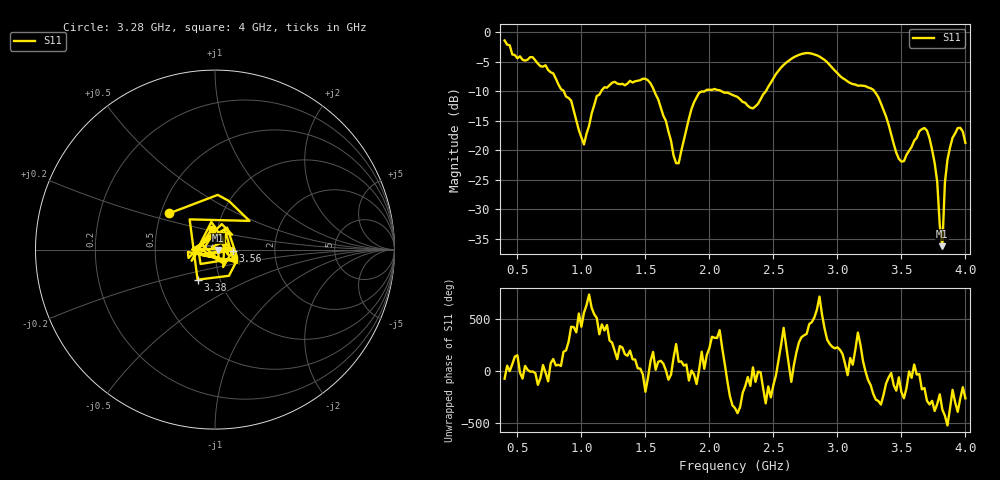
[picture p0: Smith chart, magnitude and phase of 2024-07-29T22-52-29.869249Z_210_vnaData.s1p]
!Created with skrf (http://scikit-rf.org).
# Hz S RI R 50.0
!freq ReS11 ImS11
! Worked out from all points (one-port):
!   181 points, 400 MHz to 4 GHz, reference 50 ohm
!   lowest |S11| = -36.2 dB at 3.82 GHz (marker M1), VSWR 1.03, Z = 51.6 - j0.229 ohm
!   |S11| at or under -10 dB: 1.57 GHz to 1.962 GHz (391.4 MHz wide, 22.2 % of centre); 2.096 GHz to 2.441 GHz (344.7 MHz wide, 15.2 % of centre); 3.289 GHz to end of sweep (the widest 3 of 4)
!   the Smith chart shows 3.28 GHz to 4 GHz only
!   S11 on the Smith chart (normalised r, x): 3.28 GHz: 0.55, +0.25; 3.38 GHz: 0.78, -0.27; 3.56 GHz: 1.22, -0.01; 4 GHz: 0.94, +0.22
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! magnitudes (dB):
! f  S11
! 400 MHz  -1.4
! 720 MHz  -5.6
! 860 MHz  -9.9
! 920 MHz  -11.6
! 1.02 GHz  -19.0
! 1.12 GHz  -10.8
! 1.3 GHz  -8.8
! 1.54 GHz  -8.6
! 1.76 GHz  -22.2
! 1.86 GHz  -13.0
! 1.92 GHz  -10.2
! 2.2 GHz  -10.8
! 2.34 GHz  -12.9
! 2.66 GHz  -4.2
! 2.84 GHz  -3.9
! 3.1 GHz  -8.6
! 3.28 GHz  -9.7
! 3.38 GHz  -14.3
! 3.48 GHz  -21.4
! 3.56 GHz  -20.1
! 3.7 GHz  -16.6
! 3.78 GHz  -25.3
! 3.8 GHz  -32.7
! 3.82 GHz  -36.2
! 3.84 GHz  -25.4
! 3.88 GHz  -19.5
! 3.94 GHz  -16.2
! 4 GHz  -18.7
